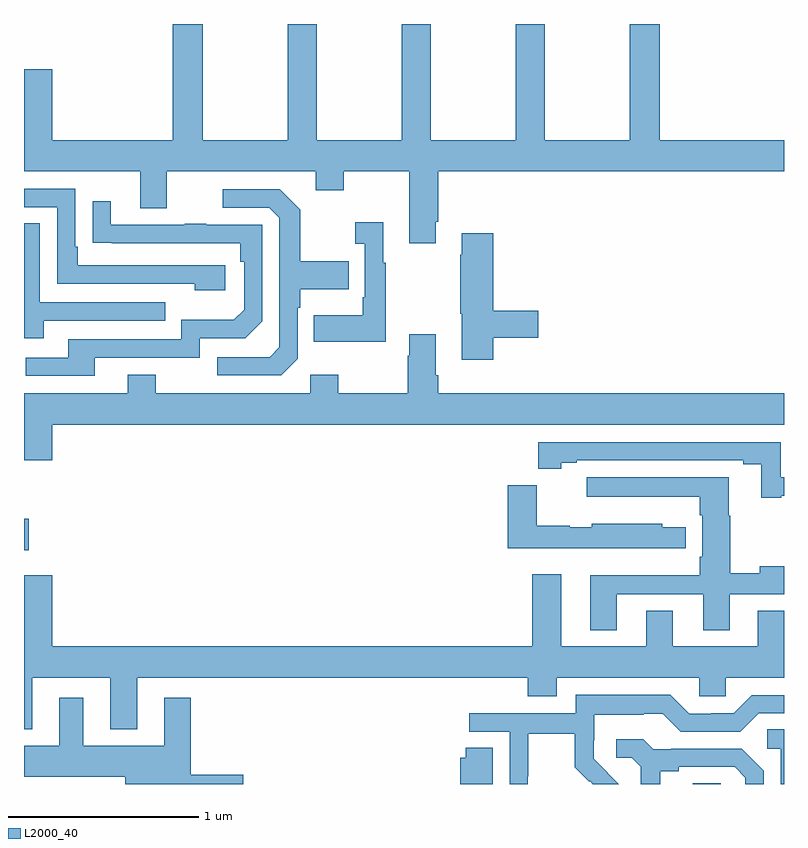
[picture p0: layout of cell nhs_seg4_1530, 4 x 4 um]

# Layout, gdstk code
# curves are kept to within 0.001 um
import gdstk
lib = gdstk.Library(unit=1e-6, precision=1e-09)
def R(c, l, rs):  # rectangles x0, y0, x1, y1
    for r in rs: c.add(gdstk.rectangle(r[:2], r[2:], *l))
def P(c, l, *ps):  # polygons
    for p in ps: c.add(gdstk.Polygon(p, *l))
L2000_40 = (2000, 40)

nhs_seg4_1530 = lib.new_cell('nhs_seg4_1530')
R(nhs_seg4_1530, L2000_40, [(192.521,822.9,192.666,822.905), (189,824.129,189.025,824.295)])
P(nhs_seg4_1530, L2000_40, [(191.167,825.859),(191.18,825.859),(191.18,826.124),(193,826.124),(193,826.288),(192.347,826.288),(192.347,826.9),(192.187,826.9),(192.187,826.288),(191.742,826.288),(191.742,826.9),(191.587,826.9),(191.587,826.288),(191.142,826.288),(191.142,826.9),(190.987,826.9),(190.987,826.288),(190.542,826.288),(190.542,826.9),(190.387,826.9),(190.387,826.288),(189.942,826.288),(189.942,826.9),(189.782,826.9),(189.782,826.288),(189.148,826.288),(189.148,826.663),(189,826.663),(189,826.124),(189.611,826.124),(189.611,825.93),(189.751,825.93),(189.751,826.124),(190.535,826.124),(190.535,826.025),(190.683,826.025),(190.683,826.124),(191.027,826.124),(191.027,825.747),(191.167,825.747)],
  [(190.06,825.63),(189.283,825.63),(189.283,825.727),(189.27,825.727),(189.27,826.032),(189,826.032),(189,825.936),(189.174,825.936),(189.174,825.534),(189.899,825.534),(189.899,825.5),(190.06,825.5)],
  [(190.44,825.138),(190.44,825.407),(190.453,825.407),(190.453,825.503),(190.709,825.503),(190.709,825.651),(190.453,825.651),(190.453,825.923),(190.347,826.029),(190.047,826.029),(190.047,825.933),(190.29,825.933),(190.344,825.879),(190.344,825.198),(190.293,825.147),(190.017,825.147),(190.017,825.051),(190.353,825.051)],
  [(189.373,825.144),(189.924,825.144),(189.924,825.246),(190.164,825.246),(190.254,825.336),(190.254,825.843),(189.959,825.843),(189.959,825.848),(189.847,825.848),(189.847,825.843),(189.457,825.843),(189.457,825.967),(189.361,825.967),(189.361,825.748),(190.138,825.747),(190.138,825.65),(190.158,825.65),(190.158,825.396),(190.105,825.343),(189.828,825.343),(189.828,825.24),(189.233,825.24),(189.233,825.144),(189.009,825.144),(189.009,825.048),(189.373,825.048)],
  [(190.903,825.643),(190.891,825.643),(190.891,825.856),(190.743,825.856),(190.743,825.743),(190.794,825.743),(190.794,825.463),(190.782,825.463),(190.782,825.367),(190.525,825.367),(190.525,825.227),(190.903,825.227)],
  [(189.103,825.339),(189.743,825.339),(189.743,825.435),(189.084,825.435),(189.084,825.851),(189,825.851),(189,825.245),(189.103,825.245)],
  [(191.471,825.25),(191.707,825.25),(191.707,825.392),(191.471,825.392),(191.471,825.799),(191.303,825.799),(191.303,825.686),(191.296,825.686),(191.296,825.375),(191.303,825.375),(191.303,825.132),(191.471,825.132)],
  [(189.148,824.792),(193,824.792),(193,824.956),(191.18,824.956),(191.18,825.052),(191.167,825.052),(191.167,825.268),(191.027,825.268),(191.027,825.155),(191.02,825.155),(191.02,824.956),(190.653,824.956),(190.653,825.055),(190.506,825.055),(190.506,824.956),(189.693,824.956),(189.693,825.055),(189.545,825.055),(189.545,824.956),(189,824.956),(189,824.604),(189.148,824.604)],
  [(192.985,824.417),(193,824.417),(193,824.514),(192.982,824.514),(192.982,824.7),(191.706,824.7),(191.706,824.558),(191.827,824.558),(191.827,824.592),(191.908,824.592),(191.908,824.604),(192.785,824.604),(192.785,824.584),(192.881,824.584),(192.881,824.406),(192.985,824.406)],
  [(192.121,823.898),(192.575,823.898),(192.575,823.71),(192.715,823.71),(192.715,823.898),(193,823.898),(193,824.047),(192.872,824.047),(192.872,824.009),(192.717,824.009),(192.717,824.311),(192.709,824.311),(192.709,824.515),(191.961,824.515),(191.961,824.411),(192.557,824.411),(192.557,824.315),(192.569,824.315),(192.569,824.095),(192.557,824.095),(192.557,823.999),(191.981,823.999),(191.981,823.71),(192.121,823.71)],
  [(192.484,824.251),(192.36,824.251),(192.36,824.269),(191.988,824.269),(191.988,824.251),(191.873,824.251),(191.873,824.259),(191.698,824.259),(191.698,824.473),(191.546,824.473),(191.546,824.141),(192.484,824.141)],
  [(189.043,823.46),(189.455,823.46),(189.455,823.187),(189.595,823.187),(189.595,823.46),(191.651,823.46),(191.651,823.361),(191.803,823.361),(191.803,823.46),(192.555,823.46),(192.555,823.362),(192.693,823.362),(192.693,823.46),(193,823.46),(193,823.813),(192.863,823.813),(192.863,823.624),(192.415,823.624),(192.415,823.813),(192.275,823.813),(192.275,823.624),(191.827,823.624),(191.827,824.005),(191.675,824.005),(191.675,823.624),(189.148,823.624),(189.148,823.999),(189,823.999),(189,823.187),(189.043,823.187)],
  [(191.652,822.94),(191.655,822.94),(191.655,823.164),(191.899,823.164),(191.899,822.989),(191.976,822.912),(191.979,822.915),(191.994,822.9),(192.13,822.9),(191.998,823.034),(191.998,823.131),(192,823.131),(192,823.265),(192.263,823.265),(192.263,823.269),(192.363,823.269),(192.456,823.176),(192.771,823.176),(192.867,823.272),(193,823.272),(193,823.368),(192.831,823.368),(192.735,823.272),(192.617,823.272),(192.617,823.269),(192.501,823.269),(192.401,823.369),(191.904,823.369),(191.904,823.272),(191.343,823.272),(191.343,823.176),(191.556,823.176),(191.556,822.9),(191.652,822.9)],
  [(190.153,822.95),(189.878,822.95),(189.878,823.354),(189.737,823.354),(189.737,823.102),(189.313,823.102),(189.313,823.354),(189.185,823.354),(189.185,823.102),(189,823.102),(189,822.938),(189.533,822.938),(189.533,822.9),(190.153,822.9)],
  [(193,823.187),(192.912,823.187),(192.912,823.086),(192.984,823.086),(192.984,822.9),(193,822.9)],
  [(192.349,822.968),(192.445,822.968),(192.445,822.99),(192.74,822.99),(192.797,822.933),(192.797,822.9),(192.894,822.9),(192.894,822.97),(192.778,823.086),(192.406,823.086),(192.406,823.083),(192.312,823.083),(192.26,823.135),(192.117,823.135),(192.117,823.038),(192.198,823.038),(192.245,822.991),(192.245,822.9),(192.349,822.9)],
  [(191.467,823.091),(191.324,823.091),(191.324,823.038),(191.297,823.038),(191.297,822.9),(191.467,822.9)])

lib.write_gds('nhs_seg4_1530.gds')
